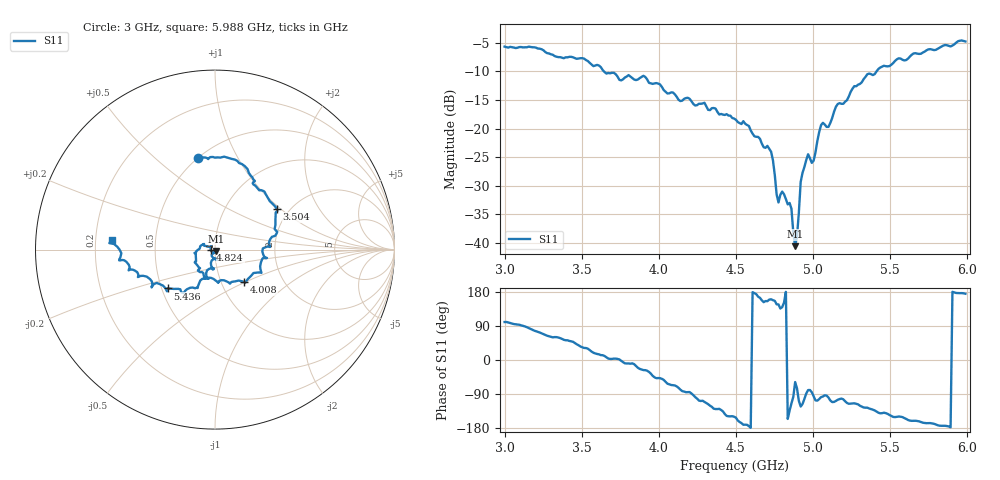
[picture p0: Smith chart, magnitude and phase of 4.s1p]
! Saved from nanovna library
# Hz S RI R 50
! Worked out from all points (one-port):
!   250 points, 3 GHz to 5.988 GHz, reference 50 ohm
!   lowest |S11| = -40.6 dB at 4.884 GHz (marker M1), VSWR 1.02, Z = 50.5 - j0.804 ohm
!   |S11| at or under -10 dB: 3.644 GHz to 5.412 GHz (1.767 GHz wide, 39 % of centre)
!   S11 on the Smith chart (normalised r, x): 3 GHz: 0.50, +0.70; 3.504 GHz: 1.72, +0.94; 4.008 GHz: 1.28, -0.49; 4.824 GHz: 0.95, +0.00; 5.436 GHz: 0.54, -0.26; 5.988 GHz: 0.27, +0.04
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3e9  -0.0923 0.5124
3.192e9  0.1106 0.5014
3.384e9  0.2465 0.3306
3.504e9  0.3439 0.2278
3.756e9  0.2635 -0.01
3.9e9  0.2588 -0.1296
4.008e9  0.1628 -0.1804
4.128e9  0.0504 -0.1712
4.296e9  -0.0586 -0.1575
4.5e9  -0.1057 -0.0555
4.728e9  -0.0591 0.0212
4.776e9  -0.0188 0.0124
4.8e9  -0.0214 0.0183
4.824e9  -0.0242 7.65e-05
4.86e9  -0.00828 -0.0181
4.872e9  -0.00158 -0.0122
4.884e9  0.00493 -0.00796
4.896e9  0.003 -0.011
4.92e9  -0.0185 -0.0287
4.968e9  0.011 -0.0586
5.004e9  -0.00549 -0.0522
5.052e9  -0.0149 -0.1062
5.1e9  -0.0161 -0.1022
5.148e9  -0.048 -0.1472
5.244e9  -0.0888 -0.1896
5.436e9  -0.2645 -0.2163
5.616e9  -0.3799 -0.1509
5.988e9  -0.5754 0.0512
